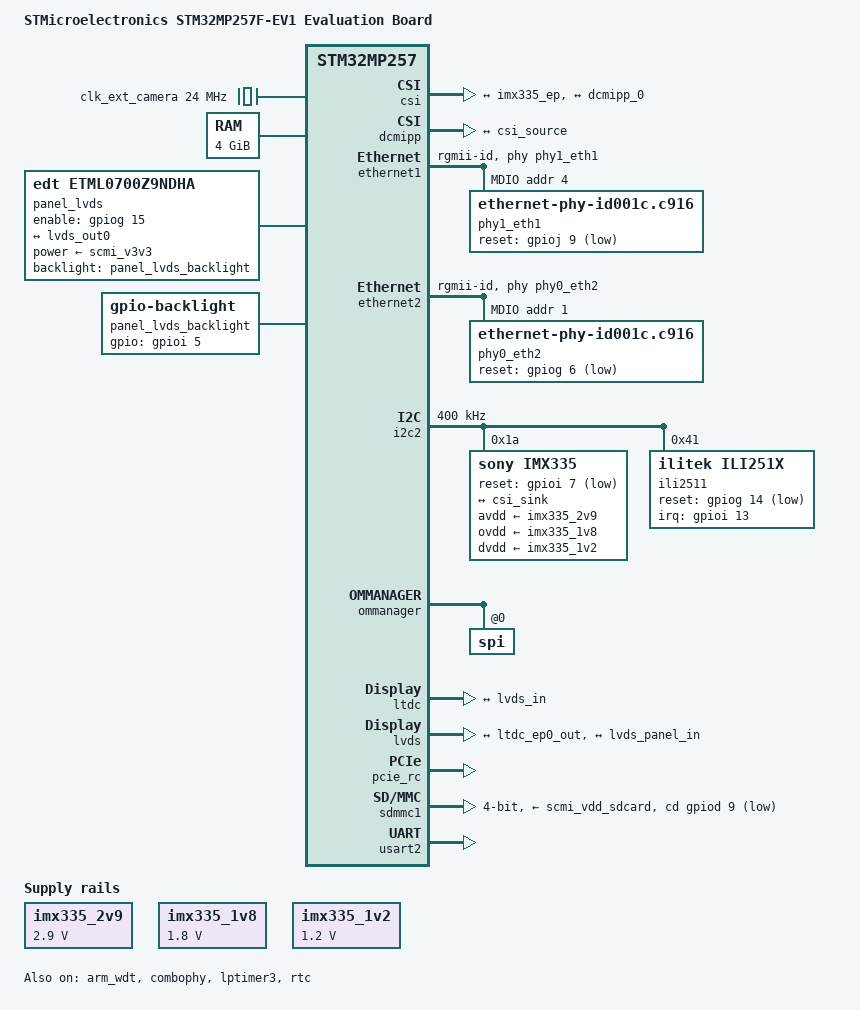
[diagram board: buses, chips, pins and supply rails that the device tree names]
// SPDX-License-Identifier: (GPL-2.0-or-later OR BSD-3-Clause)
/*
 * Copyright (C) STMicroelectronics 2023 - All Rights Reserved
 * Author: Alexandre Torgue <alexandre.torgue@foss.st.com> for STMicroelectronics.
 */

/dts-v1/;

#include <dt-bindings/gpio/gpio.h>
#include <dt-bindings/regulator/st,stm32mp25-regulator.h>
#include "stm32mp257.dtsi"
#include "stm32mp25xf.dtsi"
#include "stm32mp25-pinctrl.dtsi"
#include "stm32mp25xxai-pinctrl.dtsi"

/ {
	model = "STMicroelectronics STM32MP257F-EV1 Evaluation Board";
	compatible = "st,stm32mp257f-ev1", "st,stm32mp257";

	aliases {
		ethernet0 = &ethernet2;
		ethernet1 = &ethernet1;
		serial0 = &usart2;
		serial1 = &usart6;
	};

	chosen {
		stdout-path = "serial0:115200n8";
	};

	clocks {
		clk_ext_camera: clk-ext-camera {
			#clock-cells = <0>;
			compatible = "fixed-clock";
			clock-frequency = <24000000>;
		};

		pad_clk: pad-clk {
			#clock-cells = <0>;
			compatible = "fixed-clock";
			clock-frequency = <100000000>;
		};
	};

	imx335_2v9: regulator-2v9 {
		compatible = "regulator-fixed";
		regulator-name = "imx335-avdd";
		regulator-min-microvolt = <2900000>;
		regulator-max-microvolt = <2900000>;
		regulator-always-on;
	};

	imx335_1v8: regulator-1v8 {
		compatible = "regulator-fixed";
		regulator-name = "imx335-ovdd";
		regulator-min-microvolt = <1800000>;
		regulator-max-microvolt = <1800000>;
		regulator-always-on;
	};

	imx335_1v2: regulator-1v2 {
		compatible = "regulator-fixed";
		regulator-name = "imx335-dvdd";
		regulator-min-microvolt = <1200000>;
		regulator-max-microvolt = <1200000>;
		regulator-always-on;
	};

	memory@80000000 {
		device_type = "memory";
		reg = <0x0 0x80000000 0x1 0x0>;
	};

	panel_lvds: display {
		compatible = "edt,etml0700z9ndha", "panel-lvds";
		enable-gpios = <&gpiog 15 GPIO_ACTIVE_HIGH>;
		backlight = <&panel_lvds_backlight>;
		power-supply = <&scmi_v3v3>;
		width-mm = <156>;
		height-mm = <92>;
		data-mapping = "vesa-24";
		status = "okay";

		panel-timing {
			clock-frequency = <54000000>;
			hactive = <1024>;
			vactive = <600>;
			hfront-porch = <150>;
			hback-porch = <150>;
			hsync-len = <21>;
			vfront-porch = <24>;
			vback-porch = <24>;
			vsync-len = <21>;
		};

		port {
			lvds_panel_in: endpoint {
				remote-endpoint = <&lvds_out0>;
			};
		};
	};

	panel_lvds_backlight: backlight {
		compatible = "gpio-backlight";
		gpios = <&gpioi 5 GPIO_ACTIVE_HIGH>;
		default-on;
		status = "okay";
	};

	reserved-memory {
		#address-cells = <2>;
		#size-cells = <2>;
		ranges;

		fw@80000000 {
			compatible = "shared-dma-pool";
			reg = <0x0 0x80000000 0x0 0x4000000>;
			no-map;
		};

		mm_ospi1: mm-ospi@60000000 {
			reg = <0x0 0x60000000 0x0 0x10000000>;
			no-map;
		};
	};
};

&arm_wdt {
	timeout-sec = <32>;
	status = "okay";
};

&combophy {
	clocks = <&rcc CK_BUS_USB3PCIEPHY>, <&rcc CK_KER_USB3PCIEPHY>, <&pad_clk>;
	clock-names = "apb", "ker", "pad";
	status = "okay";
};

&csi {
	vdd-supply = <&scmi_vddcore>;
	vdda18-supply = <&scmi_v1v8>;
	status = "okay";
	ports {
		#address-cells = <1>;
		#size-cells = <0>;
		port@0 {
			reg = <0>;
			csi_sink: endpoint {
				remote-endpoint = <&imx335_ep>;
				data-lanes = <1 2>;
				bus-type = <4>;
			};
		};
		port@1 {
			reg = <1>;
			csi_source: endpoint {
				remote-endpoint = <&dcmipp_0>;
			};
		};
	};
};

&dcmipp {
	status = "okay";
	port {
		dcmipp_0: endpoint {
			remote-endpoint = <&csi_source>;
			bus-type = <4>;
		};
	};
};

&ethernet1 {
	pinctrl-0 = <&eth1_rgmii_pins_a &eth1_mdio_pins_a>;
	pinctrl-1 = <&eth1_rgmii_sleep_pins_a &eth1_mdio_sleep_pins_a>;
	pinctrl-names = "default", "sleep";
	phy-handle = <&phy1_eth1>;
	phy-mode = "rgmii-id";
	st,ext-phyclk;
	status = "okay";

	mdio {
		#address-cells = <1>;
		#size-cells = <0>;
		compatible = "snps,dwmac-mdio";
		phy1_eth1: ethernet-phy@4 {
			compatible = "ethernet-phy-id001c.c916";
			reg = <4>;
			reset-gpios =  <&gpioj 9 GPIO_ACTIVE_LOW>;
			reset-assert-us = <10000>;
			reset-deassert-us = <80000>;
		};
	};
};

&ethernet2 {
	pinctrl-names = "default", "sleep";
	pinctrl-0 = <&eth2_rgmii_pins_a>;
	pinctrl-1 = <&eth2_rgmii_sleep_pins_a>;
	max-speed = <1000>;
	phy-handle = <&phy0_eth2>;
	phy-mode = "rgmii-id";
	status = "okay";

	mdio {
		#address-cells = <1>;
		#size-cells = <0>;
		compatible = "snps,dwmac-mdio";
		phy0_eth2: ethernet-phy@1 {
			compatible = "ethernet-phy-id001c.c916";
			reg = <1>;
			reset-assert-us = <10000>;
			reset-deassert-us = <300>;
			reset-gpios = <&gpiog 6 GPIO_ACTIVE_LOW>;
		};
	};
};

&i2c2 {
	pinctrl-names = "default", "sleep";
	pinctrl-0 = <&i2c2_pins_a>;
	pinctrl-1 = <&i2c2_sleep_pins_a>;
	i2c-scl-rising-time-ns = <100>;
	i2c-scl-falling-time-ns = <13>;
	clock-frequency = <400000>;
	status = "okay";

	imx335: camera@1a {
		compatible = "sony,imx335";
		reg = <0x1a>;
		clocks = <&clk_ext_camera>;
		avdd-supply = <&imx335_2v9>;
		ovdd-supply = <&imx335_1v8>;
		dvdd-supply = <&imx335_1v2>;
		reset-gpios = <&gpioi 7 (GPIO_ACTIVE_LOW | GPIO_PUSH_PULL)>;

		port {
			imx335_ep: endpoint {
				remote-endpoint = <&csi_sink>;
				clock-lanes = <0>;
				data-lanes = <1 2>;
				link-frequencies = /bits/ 64 <594000000>;
			};
		};
	};

	ili2511: ili2511@41 {
		compatible = "ilitek,ili251x";
		reg = <0x41>;
		interrupt-parent = <&gpioi>;
		interrupts = <13 IRQ_TYPE_EDGE_FALLING>;
		reset-gpios = <&gpiog 14 GPIO_ACTIVE_LOW>;
		status = "okay";
	};
};

&i2c8 {
	pinctrl-names = "default", "sleep";
	pinctrl-0 = <&i2c8_pins_a>;
	pinctrl-1 = <&i2c8_sleep_pins_a>;
	i2c-scl-rising-time-ns = <57>;
	i2c-scl-falling-time-ns = <7>;
	clock-frequency = <400000>;
	status = "disabled";
};

&ommanager {
	memory-region = <&mm_ospi1>;
	pinctrl-0 = <&ospi_port1_clk_pins_a
		     &ospi_port1_io03_pins_a
		     &ospi_port1_cs0_pins_a>;
	pinctrl-1 = <&ospi_port1_clk_sleep_pins_a
		     &ospi_port1_io03_sleep_pins_a
		     &ospi_port1_cs0_sleep_pins_a>;
	pinctrl-names = "default", "sleep";
	status = "okay";

	spi@0 {
		#address-cells = <1>;
		#size-cells = <0>;
		memory-region = <&mm_ospi1>;
		status = "okay";

		flash0: flash@0 {
			compatible = "jedec,spi-nor";
			reg = <0>;
			spi-rx-bus-width = <4>;
			spi-tx-bus-width = <4>;
			spi-max-frequency = <50000000>;
		};
	};
};

/* use LPTIMER with tick broadcast for suspend mode */
&lptimer3 {
	status = "okay";
	timer {
		status = "okay";
	};
};

&ltdc {
	status = "okay";
	port {
		ltdc_ep0_out: endpoint {
			remote-endpoint = <&lvds_in>;
		};
	};
};

&lvds {
	status = "okay";
	ports {
		#address-cells = <1>;
		#size-cells = <0>;

		port@0 {
			reg = <0>;
			lvds_in: endpoint {
				remote-endpoint = <&ltdc_ep0_out>;
			};
		};

		port@1 {
			reg = <1>;
			lvds_out0: endpoint {
				remote-endpoint = <&lvds_panel_in>;
			};
		};
	};
};

&pcie_ep {
	pinctrl-names = "default", "init";
	pinctrl-0 = <&pcie_pins_a>;
	pinctrl-1 = <&pcie_init_pins_a>;
	reset-gpios = <&gpioj 8 GPIO_ACTIVE_LOW>;
	status = "disabled";
};

&pcie_rc {
	pinctrl-names = "default", "init", "sleep";
	pinctrl-0 = <&pcie_pins_a>;
	pinctrl-1 = <&pcie_init_pins_a>;
	pinctrl-2 = <&pcie_sleep_pins_a>;
	status = "okay";

	pcie@0,0 {
		 reset-gpios = <&gpioj 8 GPIO_ACTIVE_LOW>;
		 wake-gpios = <&gpioh 5 (GPIO_ACTIVE_LOW | GPIO_PULL_UP)>;
	};
};

&rtc {
	status = "okay";
};

&scmi_regu {
	scmi_vddio1: regulator@0 {
		regulator-min-microvolt = <1800000>;
		regulator-max-microvolt = <3300000>;
	};
	scmi_vddcore: regulator@11  {
		reg = <VOLTD_SCMI_STPMIC2_BUCK2>;
		regulator-name = "vddcore";
	};
	scmi_v1v8: regulator@14  {
		reg = <VOLTD_SCMI_STPMIC2_BUCK5>;
		regulator-name = "v1v8";
	};
	scmi_v3v3: regulator@16 {
		reg = <VOLTD_SCMI_STPMIC2_BUCK7>;
		regulator-name = "v3v3";
	};
	scmi_vdd_emmc: regulator@18 {
		reg = <VOLTD_SCMI_STPMIC2_LDO2>;
		regulator-name = "vdd_emmc";
	};
	scmi_vdd3v3_usb: regulator@20 {
		reg = <VOLTD_SCMI_STPMIC2_LDO4>;
		regulator-name = "vdd3v3_usb";
	};
	scmi_vdd_sdcard: regulator@23 {
		reg = <VOLTD_SCMI_STPMIC2_LDO7>;
		regulator-name = "vdd_sdcard";
	};
};

&sdmmc1 {
	pinctrl-names = "default", "opendrain", "sleep";
	pinctrl-0 = <&sdmmc1_b4_pins_a>;
	pinctrl-1 = <&sdmmc1_b4_od_pins_a>;
	pinctrl-2 = <&sdmmc1_b4_sleep_pins_a>;
	cd-gpios = <&gpiod 9 (GPIO_ACTIVE_LOW | GPIO_PULL_UP)>;
	disable-wp;
	st,neg-edge;
	bus-width = <4>;
	vmmc-supply = <&scmi_vdd_sdcard>;
	vqmmc-supply = <&scmi_vddio1>;
	status = "okay";
};

&spi3 {
	pinctrl-names = "default", "sleep";
	pinctrl-0 = <&spi3_pins_a>;
	pinctrl-1 = <&spi3_sleep_pins_a>;
	status = "disabled";
};

&spi8 {
	pinctrl-names = "default", "sleep";
	pinctrl-0 = <&spi8_pins_a>;
	pinctrl-1 = <&spi8_sleep_pins_a>;
	status = "disabled";
};

&timers3 {
	status = "disabled";
	counter {
		status = "okay";
	};
	pwm {
		pinctrl-0 = <&pwm3_pins_a>;
		pinctrl-1 = <&pwm3_sleep_pins_a>;
		pinctrl-names = "default", "sleep";
		status = "okay";
	};
	timer@2 {
		status = "okay";
	};
};

&timers8 {
	status = "disabled";
	counter {
		status = "okay";
	};
	pwm {
		pinctrl-0 = <&pwm8_pins_a>;
		pinctrl-1 = <&pwm8_sleep_pins_a>;
		pinctrl-names = "default", "sleep";
		status = "okay";
	};
	timer@7 {
		status = "okay";
	};
};

&timers10 {
	status = "disabled";
	counter {
		pinctrl-0 = <&tim10_counter_pins_a>;
		pinctrl-1 = <&tim10_counter_sleep_pins_a>;
		pinctrl-names = "default", "sleep";
		status = "okay";
	};
};

&timers12 {
	status = "disabled";
	counter {
		status = "okay";
	};
	pwm {
		pinctrl-0 = <&pwm12_pins_a>;
		pinctrl-1 = <&pwm12_sleep_pins_a>;
		pinctrl-names = "default", "sleep";
		status = "okay";
	};
	timer@11 {
		status = "okay";
	};
};

&usart2 {
	pinctrl-names = "default", "idle", "sleep";
	pinctrl-0 = <&usart2_pins_a>;
	pinctrl-1 = <&usart2_idle_pins_a>;
	pinctrl-2 = <&usart2_sleep_pins_a>;
	/delete-property/dmas;
	/delete-property/dma-names;
	status = "okay";
};

&usart6 {
	pinctrl-names = "default", "idle", "sleep";
	pinctrl-0 = <&usart6_pins_a>;
	pinctrl-1 = <&usart6_idle_pins_a>;
	pinctrl-2 = <&usart6_sleep_pins_a>;
	uart-has-rtscts;
	status = "disabled";
};
